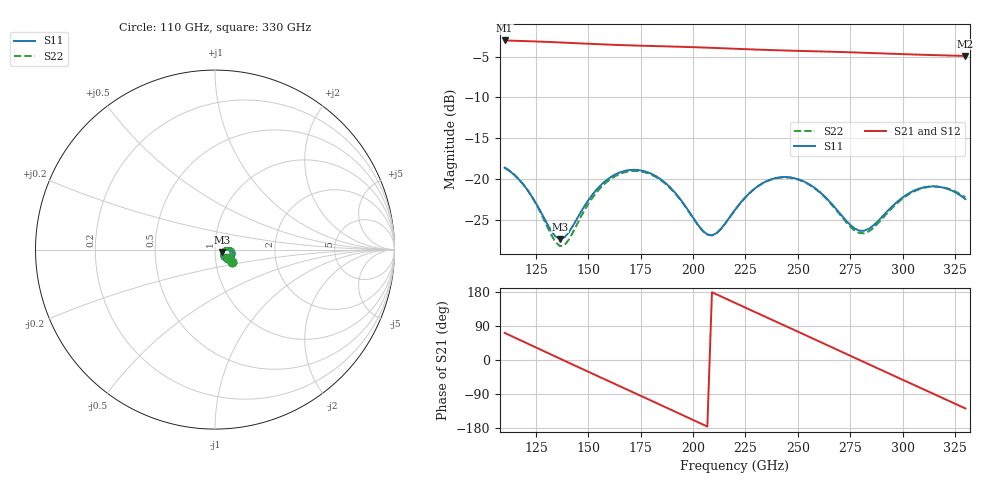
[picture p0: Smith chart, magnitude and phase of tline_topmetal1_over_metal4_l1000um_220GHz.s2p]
#  GHZ S DB R 50
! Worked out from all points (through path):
!   101 points, 110 GHz to 330 GHz, reference 50 ohm
!   highest |S21| = -3.02 dB at 110 GHz (marker M1); lowest = -4.9 dB at 330 GHz (marker M2)
!   group delay of S21, straight-line fit = 7.06 ps
!   lowest |S11| = -27.4 dB at 136.4 GHz (marker M3), VSWR 1.09, Z = 54.1 - j1.66 ohm
!   |S11| at or under -10 dB: start of sweep to end of sweep
!   |S22| runs from -28.2 to -18.6 dB; largest |S21 - S12| = 7.4e-14
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110  -18.61 -35.1  -3.02 71.5  -3.02 71.5  -18.57 -36.8
123.2  -22.21 -48.8  -3.13 37.6  -3.13 37.6  -22.25 -52.0
136.4  -27.36 -20.9  -3.26 3.7  -3.26 3.7  -28.23 -24.0
147.4  -23.62 8.2  -3.39 -24.5  -3.39 -24.5  -24.16 10.0
158.4  -20.18 1.7  -3.51 -52.4  -3.51 -52.4  -20.44 3.3
167.2  -19.01 -10.4  -3.60 -74.7  -3.60 -74.7  -19.19 -9.1
176  -18.99 -23.7  -3.67 -97.1  -3.67 -97.1  -19.12 -22.6
184.8  -20.08 -35.8  -3.73 -119.4  -3.73 -119.4  -20.17 -34.9
195.8  -23.14 -43.5  -3.81 -147.5  -3.81 -147.5  -23.20 -42.6
206.8  -26.80 -24.6  -3.90 -175.6  -3.90 -175.6  -26.81 -23.9
211.2  -26.63 -9.6  -3.95 173.2  -3.95 173.2  -26.64 -9.2
220  -23.78 4.9  -4.04 150.8  -4.04 150.8  -23.80 5.1
231  -20.86 -0.9  -4.14 122.9  -4.14 122.9  -20.89 -0.7
239.8  -19.86 -11.8  -4.22 100.6  -4.22 100.6  -19.89 -11.7
248.6  -19.91 -23.8  -4.28 78.4  -4.28 78.4  -19.95 -23.7
257.4  -20.97 -34.3  -4.34 56.1  -4.34 56.1  -21.02 -34.3
268.4  -23.70 -39.3  -4.42 28.1  -4.42 28.1  -23.82 -39.6
279.4  -26.33 -22.7  -4.51 0.1  -4.51 0.1  -26.62 -22.3
294.8  -23.41 -0.9  -4.65 -38.9  -4.65 -38.9  -23.60 1.3
312.4  -20.92 -15.9  -4.79 -83.4  -4.79 -83.4  -20.97 -12.7
321.2  -21.18 -26.7  -4.86 -105.6  -4.86 -105.6  -21.15 -22.6
330  -22.47 -35.7  -4.92 -127.9  -4.92 -127.9  -22.25 -30.3
